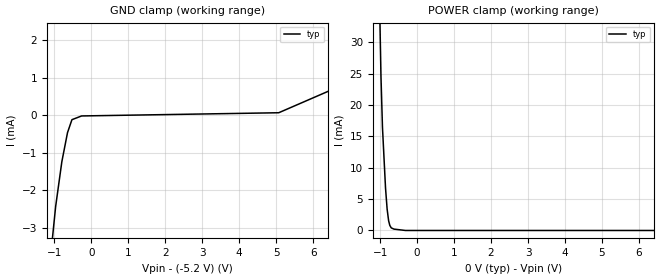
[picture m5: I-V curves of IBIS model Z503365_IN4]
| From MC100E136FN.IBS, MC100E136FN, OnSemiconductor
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| (C) COPYRIGHT 1993-2000
| MENTOR GRAPHICS CORPORATION
| ICX STANDARD LIBRARY, ICX PROJECT MODELING,
| ICX CUSTOM MODELING, ICX VENDOR MODEL
| ALL RIGHTS RESERVED.
| THE FOLLOWING ARE TRADEMARKS OR SERVICE MARKS OF
| MENTOR GRAPHICS CORPORATION:ICX (R), ICX STANDARD
| LIBRARY(R), ICX PROJECT MODELING(R), ICX CUSTOM
| MODELING(R), qualityIBIS(TM), MODELVIEWER(TM),
| AND MODELEDITOR(TM)
| ALL COPIES OF SOFTWARE, INCLUDING BUT NOT LIMITED TO
| ANY MODIFICATIONS, ENHANCEMENTS OR DERIVATIVE WORKS,
| MUST CONTAIN ALL MENTOR GRAPHICS CORPORATION'S
| NOTICES AND LEGENDS, INCLUDING THOSE EMBEDDED IN
| SOFTWARE AND THOSE AFFIXED TO SOFTWARE MEDIUM
| AND CONTAINER, AS RECEIVED FROM MENTOR GRAPHICS
| CORPORATION.
| Model Application Version 1.89 2/18/99.
[Model] Z503365_IN4
Model_type Input_ECL
Vinl = -1.475V
Vinh = -1.165V
C_comp 4.000pF NA NA
| variable typ   min   max
[Voltage Range] -5.200V NA NA
[GND Clamp Reference] -5.200V NA NA
[POWER Clamp Reference] 0.000V NA NA
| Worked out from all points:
|   GND clamp passes 1 mA (typ) near -0.75 V on its own axis
|   POWER clamp passes 1 mA (typ) near -0.75 V on its own axis
[GND Clamp]
-5.2V     -84.27mA   NA         NA
-1.088V   -3.631mA   NA         NA
-963mV    -2.423mA   NA         NA
-796mV    -1.236mA   NA         NA
-643mV    -464uA     NA         NA
-523mV    -118.7uA   NA         NA
-261.5mV  -19.5uA    NA         NA
5.069V    65.65uA    NA         NA
10.4V     2.336mA    NA         NA
[POWER Clamp]
-5.2V     5.357A     NA         NA
-1.093V   60.23mA    NA         NA
-976.4mV  24.51mA    NA         NA
-936.2mV  16.44mA    NA         NA
-853.8mV  6.787mA    NA         NA
-810.2mV  3.399mA    NA         NA
-770mV    1.557mA    NA         NA
-737.8mV  806.4uA    NA         NA
-698.5mV  413.9uA    NA         NA
-624.8mV  217.5uA    NA         NA
-312.4mV  0A         NA         NA
10.4V     0A         NA         NA
